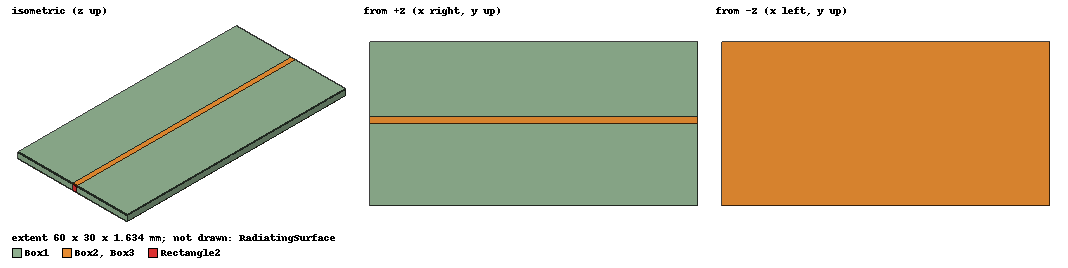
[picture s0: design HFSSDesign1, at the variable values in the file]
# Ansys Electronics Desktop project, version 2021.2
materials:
  vacuum: permittivity=1
  copper: permeability=0.999991 conductivity=58000000
  FR4_epoxy: permittivity=4.4 dielectric_loss_tangent=0.02
  air: permittivity=1.0006 permeability=1.0000004

design HFSSDesign1 (HFSS, DrivenModal, model units mm)
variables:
  a = 60mm
  b = 30mm
  th = 1.6mm
  ws = 1.2mm
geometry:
  Box1 [FR4_epoxy] = box(corner=(0mm, 0mm, 0.017mm), size=(a, b, th))
  Box2 [copper] = box(corner=(0mm, 0mm, 0mm), size=(a, b, 0.017mm))
  Box3 [copper] = box(corner=(0mm, 15mm, 1.617mm), size=(60mm, ws, 0.017mm))
  RadiatingSurface [air] = region(absolute_offset=25mm on all sides)
  Rectangle1 = rectangle(corner=(0mm, 18.05mm, 1.617mm), y_size=-ws, z_size=-1.6mm)
  Rectangle2 = rectangle(corner=(60mm, 15mm, 1.617mm), y_size=ws, z_size=-1.6mm)
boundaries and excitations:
  Open1: Radiation Objects=RadiatingSurface
  1: Lumped Port Faces=Rectangle1.face Modes{Mode1{IntLine{middle of Rectangle1.edge(z at corner) -> middle of Rectangle1.edge(z opposite corner)} CharImp=Zpi RenormImp=50ohm}} Impedance=50ohm
  2: Lumped Port Faces=Rectangle2.face Modes{Mode1{IntLine{middle of Rectangle2.edge(z at corner) -> middle of Rectangle2.edge(z opposite corner)} CharImp=Zpi RenormImp=50ohm}} Impedance=50ohm
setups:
  Setup1: HfssDriven Frequency=12GHz MaxDeltaS=0.02 MaximumPasses=25 MinimumPasses=1 MinimumConvergedPasses=1 PercentRefinement=30 BasisOrder=1 PortAccuracy=2
    sweep Sweep: 10GHz to 14GHz, 401 points; Type=Interpolating InterpTolerance=0.5 InterpMaxSolns=250 InterpUsePortImped=false PassivityErrorTolerance=0.0001
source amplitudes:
  1:1: 1W 0deg
  2:1: 0W 0deg
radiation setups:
  3D: Infinite Sphere Theta=0deg..180deg step 2deg Phi=-180deg..180deg step 2deg
  Elevation: Infinite Sphere Theta=-180deg..180deg step 1deg Phi=0deg..90deg step 90deg
  Azimuth: Infinite Sphere Theta=90deg..90deg step 0deg Phi=-180deg..180deg step 1deg
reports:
  S Parameter Plot 1: dB(S(1,1)) vs Freq on Setup1 : Sweep
